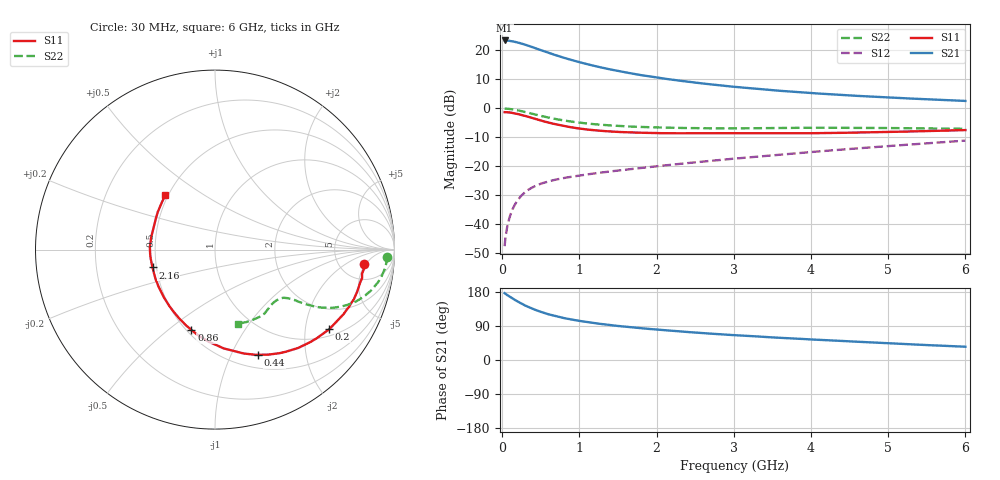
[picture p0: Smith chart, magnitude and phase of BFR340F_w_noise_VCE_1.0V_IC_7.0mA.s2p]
! Infineon Technologies  Discrete & RF Semiconductors
! BFR340F
! VCE =  1.0 V,  IC =  7.0 mA
! Common Emitter S-Parameters:  Nov 2015
# GHz  S  MA  R  50
!  f  S11  S21  S12  S22
! GHz  MAG  ANG  MAG  ANG  MAG  ANG  MAG  ANG
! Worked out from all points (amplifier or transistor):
!   206 points, 30 MHz to 6 GHz, reference 50 ohm
!   highest |S21| = 23.1 dB at 30 MHz (marker M1)
!   |S21| within 3 dB of that: start of sweep to 464 MHz
!   unconditionally stable (mu >= 1): 1.641 GHz to end of sweep
!   at 200 MHz: K = 0.20, MSG = 27.2 dB, |S12| = -31.9 dB
!   at 1.56 GHz: K = 0.98, MSG = 16.9 dB, |S12| = -21.5 dB
!   at 6 GHz: K = 1.00, MAG = 6.6 dB, |S12| = -11.4 dB
!   lowest NFmin = 1.25 dB at 450 MHz
!   S11 on the Smith chart (normalised r, x): 30 MHz: 8.79, -4.61; 200 MHz: 1.21, -2.70; 440 MHz: 0.65, -1.27; 860 MHz: 0.53, -0.60; 2.16 GHz: 0.48, -0.11; 6 GHz: 0.48, +0.35
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0.03  0.8365 -5.4  14.37 176.4  0.0041 85.6  0.9608 -2.3
0.05  0.8302 -9.2  14.26 173.0  0.0068 84.3  0.9584 -3.9
0.09  0.8262 -16.4  14.18 168.1  0.0122 81.5  0.9493 -7.1
0.14  0.806 -24.8  13.84 161.5  0.0186 77.1  0.93 -10.8
0.2  0.7759 -34.9  13.26 154.2  0.0255 72.9  0.8989 -14.7
0.26  0.7404 -44.0  12.58 147.6  0.0316 68.7  0.863 -18.1
0.3  0.7175 -49.8  12.11 143.4  0.0353 66.4  0.8379 -20.1
0.36  0.6801 -58.0  11.38 137.9  0.0401 63.4  0.8005 -22.6
0.44  0.6331 -67.8  10.44 131.3  0.0455 60.2  0.7532 -25.2
0.5  0.6003 -74.6  9.786 126.9  0.0489 58.3  0.7203 -26.8
0.6  0.5528 -84.9  8.799 120.5  0.0537 56.0  0.6726 -28.7
0.7  0.5144 -93.9  7.944 115.2  0.0578 54.7  0.6328 -29.9
0.86  0.4666 -106.4  6.839 108.3  0.0633 53.7  0.584 -31.2
1.04  0.4288 -118.6  5.879 102.0  0.0689 53.6  0.5436 -32.0
1.2  0.4069 -127.9  5.205 97.1  0.0736 54.1  0.5167 -32.6
1.44  0.3852 -139.4  4.44 91.2  0.0806 55.3  0.4893 -33.6
2.02  0.3639 -160.0  3.274 80.0  0.0982 58.9  0.4552 -36.7
2.16  0.3618 -164.1  3.08 77.7  0.1027 59.7  0.4507 -37.7
3.1  0.3622 176.1  2.226 64.5  0.1357 63.8  0.44 -45.3
4.1  0.3633 160.0  1.748 53.3  0.1761 65.9  0.4502 -53.0
5.1  0.3835 145.2  1.474 43.2  0.2222 66.1  0.4438 -62.7
6  0.4106 132.3  1.304 35.0  0.2701 64.9  0.4319 -72.7
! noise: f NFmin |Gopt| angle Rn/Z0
0.45  1.25  0.38  2  0.3
0.9  1.27  0.38  11  0.33
1.9  1.54  0.25  11  0.31
2.4  1.69  0.21  23  0.3
